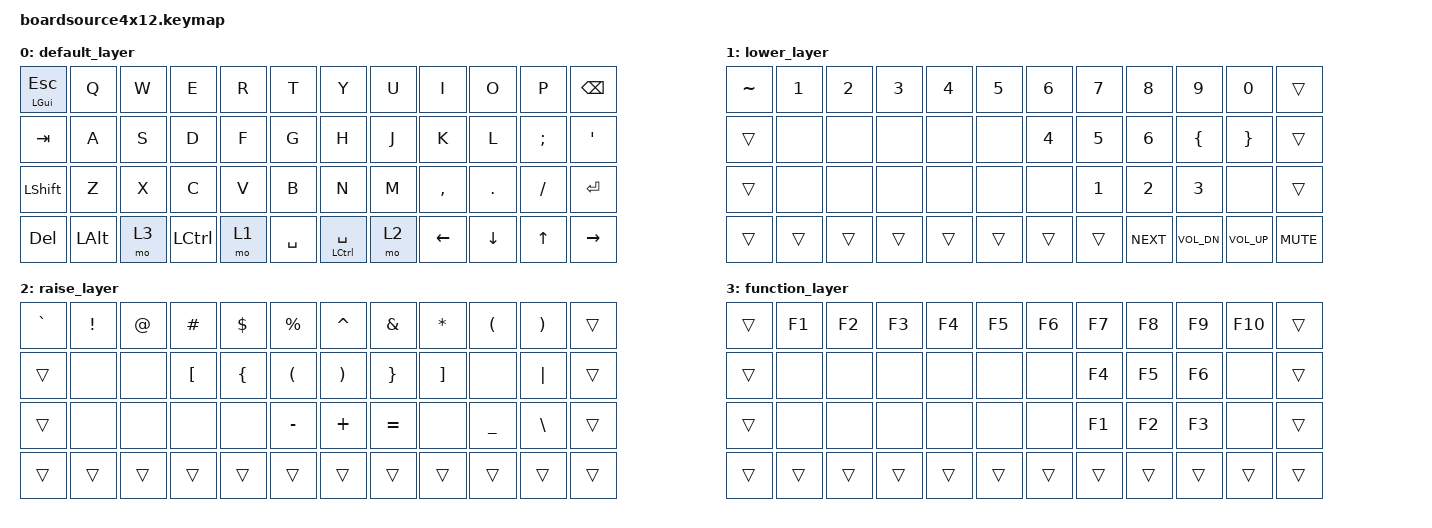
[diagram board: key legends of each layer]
/*
 * Copyright (c) 2021 The ZMK Contributors
 *
 * SPDX-License-Identifier: MIT
 */

#include <behaviors.dtsi>
#include <dt-bindings/zmk/keys.h>
#include <dt-bindings/zmk/bt.h>
#include <dt-bindings/zmk/outputs.h>


/ {
    keymap {
        compatible = "zmk,keymap";

        default_layer {
            bindings = <
                &mt LGUI ESC     &kp Q       &kp W       &kp E       &kp R       &kp T       &kp Y       &kp U       &kp I       &kp O       &kp P       &kp BSPC
                &kp TAB     &kp A       &kp S       &kp D       &kp F       &kp G       &kp H       &kp J       &kp K       &kp L       &kp SEMI    &kp SQT
                &kp LSHFT   &kp Z       &kp X       &kp C       &kp V       &kp B       &kp N       &kp M       &kp COMMA   &kp DOT     &kp FSLH    &kp RET
                &kp DEL     &kp LALT    &mo 3       &kp LCTL    &mo 1       &kp SPACE   &mt LCTL SPACE   &mo 2       &kp LEFT    &kp DOWN    &kp UP      &kp RIGHT
            >;
        };

        lower_layer {
            bindings = <
                &kp TILDE   &kp N1      &kp N2      &kp N3      &kp N4      &kp N5      &kp N6      &kp N7      &kp N8      &kp N9      &kp N0      &trans
                &trans      &none       &none       &none       &none       &none       &kp N4      &kp N5      &kp N6      &kp LBRC    &kp RBRC    &trans
                &trans      &none       &none       &none       &none       &none       &none       &kp N1      &kp N2      &kp N3      &none       &trans
                &trans      &trans      &trans      &trans      &trans      &trans      &trans      &trans      &kp C_NEXT  &kp C_VOL_DN    &kp C_VOL_UP   &kp C_MUTE
            >;
        };

        raise_layer {
            bindings = <
                &kp GRAVE   &kp EXCL    &kp AT      &kp HASH    &kp DLLR    &kp PRCNT   &kp CARET   &kp AMPS    &kp ASTRK   &kp LPAR    &kp RPAR    &trans
                &trans      &none       &none       &kp LBKT    &kp LBRC    &kp LPAR    &kp RPAR    &kp RBRC    &kp RBKT    &none       &kp PIPE    &trans
                &trans      &none       &none       &none       &none       &kp MINUS   &kp PLUS    &kp EQUAL   &none       &kp UNDER   &kp BSLH    &trans
                &trans      &trans      &trans      &trans      &trans      &trans      &trans      &trans      &trans      &trans      &trans      &trans
            >;
        };

        function_layer {
            bindings = <
                &trans      &kp F1      &kp F2      &kp F3      &kp F4      &kp F5      &kp F6      &kp F7      &kp F8      &kp F9      &kp F10     &trans
                &trans      &none       &none       &none       &none       &none       &none       &kp F4      &kp F5      &kp F6      &none       &trans
                &trans      &none       &none       &none       &none       &none       &none       &kp F1      &kp F2      &kp F3      &none       &trans
                &trans      &trans      &trans      &trans      &trans      &trans      &trans      &trans      &trans      &trans      &trans      &trans
            >;
        };
    };
};
